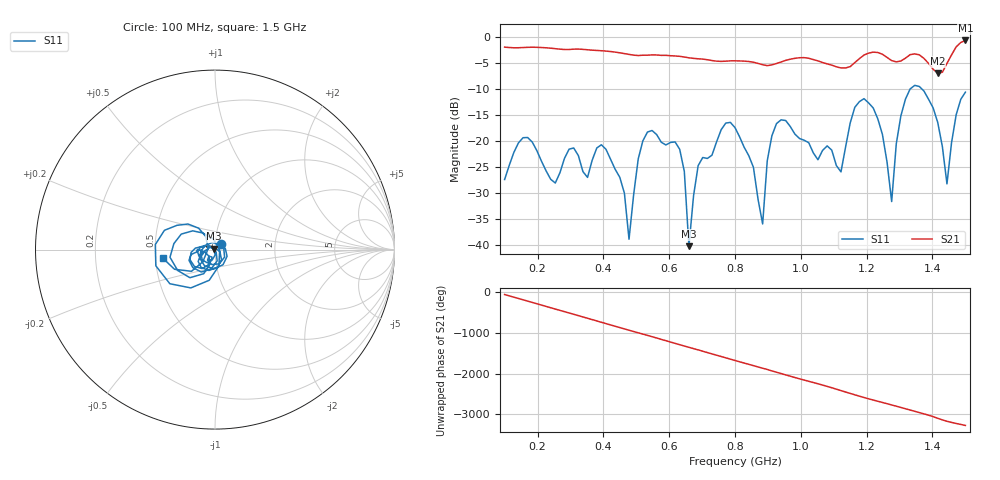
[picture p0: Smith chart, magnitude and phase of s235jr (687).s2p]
! NanoVNA-App
! Date: 2025-09-25 15:09:31
! Start: 100MHz Stop: 1,5GHz Points: 101
! S-Parameter data: F S11 S21 S12 S22
# Hz S RI R 50
!  Frequency  S11_Real  S11_Imag  S21_Real  S21_Imag  S12_Real  S12_Imag  S22_Real  S22_Imag
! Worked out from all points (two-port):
!   101 points, 100 MHz to 1.5 GHz, reference 50 ohm
!   highest |S21| = -0.68 dB at 1.5 GHz (marker M1); lowest = -7.0 dB at 1.416 GHz (marker M2)
!   |S21| within 3 dB of the highest: start of sweep to 620.5 MHz; 1.188 GHz to 1.256 GHz (67.64 MHz wide, 5.54 % of centre) (the widest 2 of 4)
!   lowest |S11| = -40.3 dB at 660 MHz (marker M3), VSWR 1.02, Z = 49.2 + j0.548 ohm
!   |S11| at or under -10 dB: start of sweep to 1.333 GHz; 1.367 GHz to end of sweep
!   S12 and S22 are empty: the file has one direction only
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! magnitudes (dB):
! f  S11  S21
! 100 MHz  -27.5  -2.0
! 156 MHz  -19.4  -2.0
! 338 MHz  -25.9  -2.4
! 408 MHz  -21.6  -2.7
! 478 MHz  -39.0  -3.4
! 520 MHz  -20.0  -3.5
! 576 MHz  -20.3  -3.5
! 632 MHz  -21.6  -3.7
! 660 MHz  -40.3  -4.0
! 688 MHz  -24.8  -4.2
! 800 MHz  -17.5  -4.6
! 884 MHz  -36.0  -5.4
! 926 MHz  -16.7  -5.1
! 1.038 GHz  -22.3  -4.4
! 1.122 GHz  -26.0  -6.0
! 1.192 GHz  -11.9  -3.5
! 1.248 GHz  -18.8  -3.3
! 1.276 GHz  -31.7  -4.6
! 1.332 GHz  -10.0  -3.4
! 1.416 GHz  -16.5  -7.0
! 1.444 GHz  -28.3  -5.1
! 1.5 GHz  -10.6  -0.7
